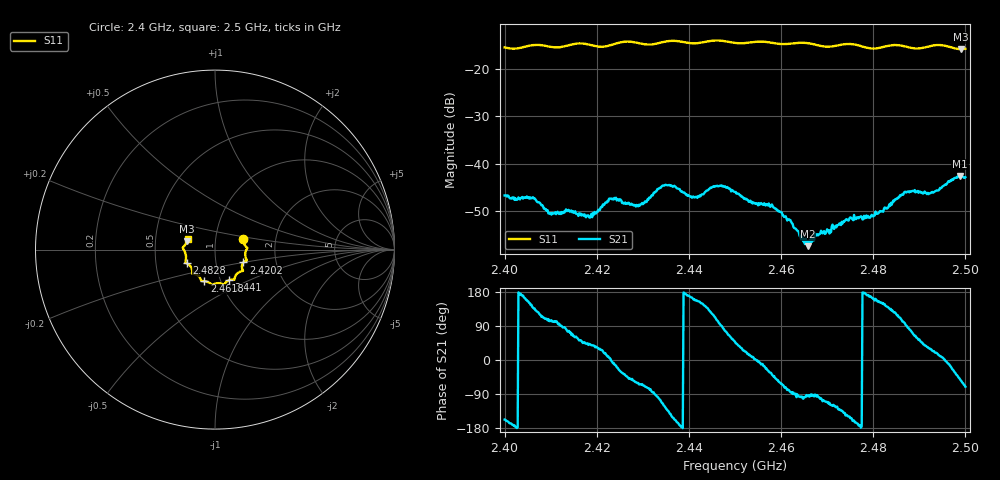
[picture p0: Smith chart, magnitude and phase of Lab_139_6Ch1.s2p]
# Hz S RI R 50
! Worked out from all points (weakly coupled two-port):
!   601 points, 2.4 GHz to 2.5 GHz, reference 50 ohm
!   highest |S21| = -42.61 dB at 2.4988 GHz (marker M1); lowest = -57.4 dB at 2.4658 GHz (marker M2)
!   lowest |S11| = -15.8 dB at 2.499 GHz (marker M3), VSWR 1.39, Z = 36.4 + j3.55 ohm
!   |S11| at or under -10 dB: start of sweep to end of sweep
!   S12 and S22 are empty: the file has one direction only
!   S11 on the Smith chart (normalised r, x): 2.4 GHz: 1.36, +0.17; 2.4202 GHz: 1.36, -0.20; 2.441 GHz: 1.10, -0.39; 2.4618 GHz: 0.84, -0.30; 2.4828 GHz: 0.72, -0.11; 2.5 GHz: 0.73, +0.09
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2.4e9  0.1582 0.0618  -0.00426 -0.00179  0 0  0 0
2.406333e9  0.1798 0.0106  -0.0031 0.00298  0 0  0 0
2.41e9  0.1719 -0.00694  -0.000747 0.00292  0 0  0 0
2.416667e9  0.177 -0.0603  0.00181 0.00218  0 0  0 0
2.420167e9  0.1581 -0.0718  0.0026 0.00165  0 0  0 0
2.423167e9  0.1501 -0.0997  0.00429 -0.000184  0 0  0 0
2.429e9  0.145 -0.1212  0.00175 -0.00309  0 0  0 0
2.433333e9  0.1119 -0.151  -0.000883 -0.00532  0 0  0 0
2.436333e9  0.1089 -0.167  -0.00503 -0.00292  0 0  0 0
2.441e9  0.0781 -0.1703  -0.00421 0.00156  0 0  0 0
2.445667e9  0.0507 -0.1945  -0.00225 0.0053  0 0  0 0
2.45e9  0.0277 -0.1874  0.00335 0.00373  0 0  0 0
2.461833e9  -0.0599 -0.1758  0.000356 -0.00252  0 0  0 0
2.465833e9  -0.0775 -0.1716  -0.000127 -0.00134  0 0  0 0
2.466667e9  -0.0787 -0.1676  -0.000121 -0.00148  0 0  0 0
2.482833e9  -0.1571 -0.0767  -0.00268 0.00212  0 0  0 0
2.483333e9  -0.1601 -0.0754  -0.0026 0.00236  0 0  0 0
2.487167e9  -0.1628 -0.0578  -7e-05 0.00496  0 0  0 0
2.4925e9  -0.176 0.00169  0.00429 0.00237  0 0  0 0
2.498833e9  -0.1564 0.0452  0.00466 -0.00575  0 0  0 0
2.499e9  -0.1556 0.0474  0.00434 -0.00586  0 0  0 0
2.5e9  -0.1526 0.0612  0.00241 -0.00678  0 0  0 0
